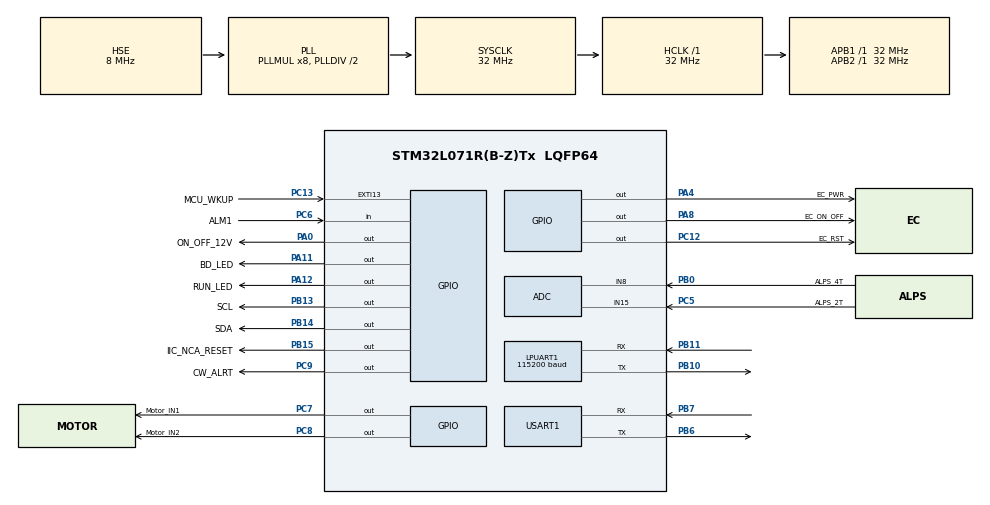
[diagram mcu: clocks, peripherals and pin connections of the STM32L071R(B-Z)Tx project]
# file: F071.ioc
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ADC.ContinuousConvMode=ENABLE
Dma.ADC.1.Direction=DMA_PERIPH_TO_MEMORY
Dma.ADC.1.Instance=DMA1_Channel1
Dma.ADC.1.MemDataAlignment=DMA_MDATAALIGN_HALFWORD
Dma.ADC.1.MemInc=DMA_MINC_ENABLE
Dma.ADC.1.Mode=DMA_NORMAL
Dma.ADC.1.PeriphDataAlignment=DMA_PDATAALIGN_HALFWORD
Dma.ADC.1.PeriphInc=DMA_PINC_DISABLE
Dma.ADC.1.Priority=DMA_PRIORITY_LOW
Dma.Request0=USART1_RX
Dma.Request1=ADC
Dma.USART1_RX.0.Direction=DMA_PERIPH_TO_MEMORY
Dma.USART1_RX.0.Instance=DMA1_Channel3
Dma.USART1_RX.0.MemDataAlignment=DMA_MDATAALIGN_BYTE
Dma.USART1_RX.0.MemInc=DMA_MINC_ENABLE
Dma.USART1_RX.0.Mode=DMA_NORMAL
Dma.USART1_RX.0.PeriphDataAlignment=DMA_PDATAALIGN_BYTE
Dma.USART1_RX.0.PeriphInc=DMA_PINC_DISABLE
Dma.USART1_RX.0.Priority=DMA_PRIORITY_LOW
LPUART1.BaudRate=115200
LPUART1.OverrunDisableParam=UART_ADVFEATURE_OVERRUN_ENABLE
LPUART1.WordLength=UART_WORDLENGTH_8B
Mcu.Family=STM32L0
Mcu.Name=STM32L071R(B-Z)Tx
Mcu.Package=LQFP64
NVIC.ADC1_COMP_IRQn=true\:0\:0\:false\:false\:true\:true\:true
NVIC.DMA1_Channel1_IRQn=true\:0\:0\:false\:false\:true\:false\:true
NVIC.DMA1_Channel2_3_IRQn=true\:0\:0\:false\:false\:true\:false\:true
NVIC.EXTI4_15_IRQn=true\:0\:0\:false\:false\:true\:true\:true
NVIC.LPUART1_IRQn=true\:0\:0\:false\:false\:true\:true\:true
NVIC.RTC_IRQn=true\:0\:0\:false\:false\:true\:true\:true
NVIC.TIM7_IRQn=true\:0\:0\:false\:false\:true\:true\:true
NVIC.USART1_IRQn=true\:0\:0\:true\:false\:true\:true\:true
PA0.GPIO_Label=ON_OFF_12V
PA0.GPIO_Speed=GPIO_SPEED_FREQ_HIGH
PA0.Signal=GPIO_Output
PA11.GPIO_Label=BD_LED
PA11.GPIO_Speed=GPIO_SPEED_FREQ_HIGH
PA11.PinState=GPIO_PIN_SET
PA11.Signal=GPIO_Output
PA12.GPIO_Label=RUN_LED
PA12.GPIO_Speed=GPIO_SPEED_FREQ_HIGH
PA12.Signal=GPIO_Output
PA13.Mode=Serial_Wire
PA13.Signal=SYS_SWDIO
PA14.Mode=Serial_Wire
PA14.Signal=SYS_SWCLK
PA4.GPIO_Label=EC_PWR
PA4.GPIO_Speed=GPIO_SPEED_FREQ_HIGH
PA4.Signal=GPIO_Output
PA8.GPIO_Label=EC_ON_OFF
PA8.GPIO_Speed=GPIO_SPEED_FREQ_HIGH
PA8.Signal=GPIO_Output
PB0.GPIO_Label=ALPS_4T
PB0.Mode=IN8
PB0.Signal=ADC_IN8
PB10.Mode=Asynchronous
PB10.Signal=LPUART1_TX
PB11.Mode=Asynchronous
PB11.Signal=LPUART1_RX
PB13.GPIO_Label=SCL
PB13.GPIO_ModeDefaultOutputPP=GPIO_MODE_OUTPUT_OD
PB13.GPIO_PuPd=GPIO_NOPULL
PB13.GPIO_Speed=GPIO_SPEED_FREQ_HIGH
PB13.PinState=GPIO_PIN_SET
PB13.Signal=GPIO_Output
PB14.GPIO_Label=SDA
PB14.GPIO_ModeDefaultOutputPP=GPIO_MODE_OUTPUT_OD
PB14.GPIO_PuPd=GPIO_NOPULL
PB14.GPIO_Speed=GPIO_SPEED_FREQ_HIGH
PB14.PinState=GPIO_PIN_SET
PB14.Signal=GPIO_Output
PB15.GPIO_Label=IIC_NCA_RESET
PB15.GPIO_Speed=GPIO_SPEED_FREQ_HIGH
PB15.Signal=GPIO_Output
PB6.Mode=Asynchronous
PB6.Signal=USART1_TX
PB7.Mode=Asynchronous
PB7.Signal=USART1_RX
PC12.GPIO_Label=EC_RST
PC12.GPIO_Speed=GPIO_SPEED_FREQ_HIGH
PC12.Signal=GPIO_Output
PC13.GPIO_Label=MCU_WKUP
PC13.GPIO_ModeDefaultEXTI=GPIO_MODE_IT_RISING_FALLING
PC13.Signal=GPXTI13
PC14-OSC32_IN.Mode=LSE-External-Oscillator
PC14-OSC32_IN.Signal=RCC_OSC32_IN
PC15-OSC32_OUT.Mode=LSE-External-Oscillator
PC15-OSC32_OUT.Signal=RCC_OSC32_OUT
PC5.GPIO_Label=ALPS_2T
PC5.Mode=IN15
PC5.Signal=ADC_IN15
PC6.GPIO_Label=ALM1
PC6.Signal=GPIO_Input
PC7.GPIO_Label=Motor_IN1
PC7.GPIO_Speed=GPIO_SPEED_FREQ_HIGH
PC7.Signal=GPIO_Output
PC8.GPIO_Label=Motor_IN2
PC8.GPIO_Speed=GPIO_SPEED_FREQ_HIGH
PC8.Signal=GPIO_Output
PC9.GPIO_Label=CW_ALRT
PC9.GPIO_Speed=GPIO_SPEED_FREQ_HIGH
PC9.Signal=GPIO_Output
PH0-OSC_IN.Mode=HSE-External-Oscillator
PH0-OSC_IN.Signal=RCC_OSC_IN
PH1-OSC_OUT.Mode=HSE-External-Oscillator
PH1-OSC_OUT.Signal=RCC_OSC_OUT
ProjectManager.HeapSize=0x200
ProjectManager.StackSize=0x400
ProjectManager.TargetToolchain=MDK-ARM V5.32
RCC.AHBFreq_Value=32000000
RCC.APB1Freq_Value=32000000
RCC.APB1TimFreq_Value=32000000
RCC.APB2Freq_Value=32000000
RCC.APB2TimFreq_Value=32000000
RCC.HCLKFreq_Value=32000000
RCC.HSE_VALUE=8000000
RCC.HSI16_VALUE=16000000
RCC.HSI_VALUE=16000000
RCC.MSI_VALUE=2097000
RCC.PLLMUL=RCC_PLLMUL_8
RCC.PLLSourceVirtual=RCC_PLLSOURCE_HSE
RCC.RTCClockSelection=RCC_RTCCLKSOURCE_LSE
RCC.RTCClockSelectionVirtual=RCC_RTCCLKSOURCE_LSE
RCC.SYSCLKFreq_VALUE=32000000
RCC.SYSCLKSource=RCC_SYSCLKSOURCE_PLLCLK
RCC.VCOOutputFreq_Value=64000000
RTC.Format=RTC_FORMAT_BIN
RTC.Hours=14
RTC.Minutes=15
RTC.Month=RTC_MONTH_SEPTEMBER
RTC.WakeUpClock-WakeUp=RTC_WAKEUPCLOCK_CK_SPRE_16BITS
RTC.WakeUpCounter-WakeUp=10
RTC.WeekDay=RTC_WEEKDAY_SUNDAY
RTC.Year=24
TIM7.Period=1000
TIM7.Prescaler=7200
USART1.VirtualMode-Asynchronous=VM_ASYNC
VP_RTC_VS_RTC_Activate.Mode=RTC_Enabled
VP_RTC_VS_RTC_Calendar.Mode=RTC_Calendar
VP_RTC_VS_RTC_WakeUp_intern.Mode=WakeUp
VP_TIM7_VS_ClockSourceINT.Mode=Enable_Timer
board=custom

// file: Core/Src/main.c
/* USER CODE BEGIN Header */
/**
  ******************************************************************************
  * @file           : main.c
  * @brief          : Main program body
  ******************************************************************************
  * @attention
  *
  * Copyright (c) 2024 STMicroelectronics.
  * All rights reserved.
  *
  * This software is licensed under terms that can be found in the LICENSE file
  * in the root directory of this software component.
  * If no LICENSE file comes with this software, it is provided AS-IS.
  *
  ******************************************************************************
  */
/* USER CODE END Header */
#include "main.h"
#include "adc.h"
#include "dma.h"
#include "usart.h"
#include "rtc.h"
#include "tim.h"
#include "gpio.h"

/* USER CODE BEGIN Includes */
#include <stdio.h>
#include "include.h"

/* USER CODE END Includes */

void SystemClock_Config(void);
/* USER CODE BEGIN PFP */

void GetSystemClocks(void) {
  // 获取系统时钟配置
  uint32_t SYSCLK_Frequency = HAL_RCC_GetSysClockFreq();/*!< returns SYSCLK clock frequency expressed in Hz */
  uint32_t HCLK_Frequency= HAL_RCC_GetHCLKFreq();    /*!< returns HCLK clock frequency expressed in Hz */
  uint32_t PCLK1_Frequency= HAL_RCC_GetPCLK1Freq();   /*!< returns PCLK1 clock frequency expressed in Hz */
  uint32_t PCLK2_Frequency= HAL_RCC_GetSysClockFreq();
 // 这里设置一个断点，用于调试时查看频率
 //    __NOP(); // 这是一个空操作，仅用于设置断点
}
/* USER CODE END PFP */

int main(void)
{

  /* MCU Configuration--------------------------------------------------------*/

  /* Reset of all peripherals, Initializes the Flash interface and the Systick. */
  HAL_Init();

  /* USER CODE BEGIN Init */
  __enable_irq();
  /* USER CODE END Init */

  /* Configure the system clock */
  SystemClock_Config();

  /* USER CODE BEGIN SysInit */
	//注意  MX_DMA_Init  要放在 串口初始化前面
  /* USER CODE END SysInit */

  /* Initialize all configured peripherals */
  MX_GPIO_Init();
	  MX_DMA_Init();
  MX_USART1_UART_Init();
	 MX_LPUART1_UART_Init();
  MX_ADC_Init();
  MX_RTC_Init();
  MX_TIM7_Init();
  /* USER CODE BEGIN 2 */
	BSP_Board_Init();

  /* USER CODE END 2 */

  /* Infinite loop */
  while (1)
  {

    /* USER CODE BEGIN 3 */
		if(HAL_GPIO_ReadPin(MCU_WKUP_GPIO_Port,MCU_WKUP_Pin) == SET){
			User_Data.Wake_Up_Flag++;

		}
		if(User_Data.Wake_Up_Flag >= 30000){
			User_Data.Wake_Up_Flag = 0;
			enter_stop_rtc_mode(User_Data.Wake_time);
		}
		Motor_Control();
		read_SW();

//		if((LPUART1_RX_STA&0X8000)&&EC800_State == 1)  //接收完成并且ec800初始化完成
//		{
//			LPUART1Cnt = LPUART1_RX_STA & 0x7FFF;
//			U3PassiveEvent(LPUART1_Data,LPUART1Cnt);
//			memset(LPUART1_Data,0,sizeof(LPUART1_Data));
//			LPUART1_RX_STA = 0;
//			LPUART1Cnt = 0;//清除接收结束标志位
//		}
//		else if(User_Data.Heart_Cnt >= 30000 &&EC800_State == 1 ){
//			memset(main_buff1,0,sizeof(main_buff1));
//			main_len=sprintf(main_buff1,"BB,%s,%d,%d,%d",User_Data.imei,User_Data.adc,User_Data.Report_motor_Type,User_Data.csq);
//			MQTT_PublishQs0(main_buff1,main_len);
//		}
		ConfigModuleNoBlock();//配置模块

		//串口接收数据出现空闲
		if(LPUART1_RX_STA&0X8000)
		{
			LPUART1Cnt = LPUART1_RX_STA & 0x7FFF;
			log_info("4GSever_数据 %s 长度%d\r\n",LPUART1_Data,LPUART1Cnt);

			//可以在这里判断模组返回的数据有没有问题
			//如果有问题就重新配置模组
			//下面是假设模组返回了 disconnect 就需要重新配置模组
			if(strstr((char*)LPUART1_Data,"+QMTSTAT: 0,1")){
				ConfigModuleNoBlockFlage=0;
				ConfigModuleNoBlockCaseValue=0;
				EC800_State = 0;
			}

			if(ConfigConnectDispose != NULL){
				ConfigConnectDispose((char*)LPUART1_Data,LPUART1Cnt);
			}

			if(strstr((char *)LPUART1_Data,"CGSN")){
				strncpy(User_Data.imei,(char *)LPUART1_Data+10, 15);
			}
			if(strstr((char *)LPUART1_Data,"CSQ")){
				char *csqPos = strstr((char *)LPUART1_Data, "+CSQ:");
					if(csqPos != NULL) {
							sscanf(csqPos, "+CSQ: %d", &User_Data.csq);
					}
			}
			if(strstr((char *)LPUART1_Data,"QCCID")){
				strncpy(User_Data.ICCID,(char *)LPUART1_Data+10, 20);
			}
			if(strstr((char *)LPUART1_Data,"QLTS")){
				strncpy(User_Data.SIM_Time,(char *)LPUART1_Data+10, 20);
			}
			if(strstr((char *)LPUART1_Data,"+QMTRECV: 0,0")){
				parseReceivedData((char *)LPUART1_Data);
			}

			memset(LPUART1_Data,0,sizeof(LPUART1_Data));
			LPUART1_RX_STA = 0;
			LPUART1Cnt = 0;//清除接收结束标志位
		}
		else if(User_Data.Heart_Cnt >= User_Data.Heart_Time*1000 &&ConfigModuleNoBlockFlage == 1 ){
			RTC_Time();
			memset(main_buff1,0,sizeof(main_buff1));
			main_len=sprintf(main_buff1,"B5,%s,%d,%d,%d,%d,%d,%d,%.2f,%.2f,%d,%d/%d/%d-%d:%d:%d,%d",User_Data.imei,User_Data.adc,User_Data.RW_Switch_Type1,User_Data.RW_Switch_Type2,
			User_Data.RW_Double_Type,User_Data.RW_Butterfly_Type,User_Data.Report_motor_Type,User_Data.RW_Pressure1,User_Data.RW_Pressure2,User_Data.Wake_time,
			GetData.Year, GetData.Month, GetData.Date,GetTime.Hours, GetTime.Minutes, GetTime.Seconds,User_Data.csq);
			MQTT_PublishQs0(main_buff1,main_len);
		}

		/*提取缓存的数据*/
		BufferManageRead(&buff_manage_struct_usart1,Usart1BufferMemoryCopy,&buff_manage_struct_usart1.ReadLen);
		User_Usart_QueueTask();
  }
  /* USER CODE END 3 */
}

void SystemClock_Config(void)
{
  RCC_OscInitTypeDef RCC_OscInitStruct = {0};
  RCC_ClkInitTypeDef RCC_ClkInitStruct = {0};
  RCC_PeriphCLKInitTypeDef PeriphClkInit = {0};

  /** Configure the main internal regulator output voltage
  */
  __HAL_PWR_VOLTAGESCALING_CONFIG(PWR_REGULATOR_VOLTAGE_SCALE1);
  /** Configure LSE Drive Capability
  */
  HAL_PWR_EnableBkUpAccess();
  __HAL_RCC_LSEDRIVE_CONFIG(RCC_LSEDRIVE_LOW);
  /** Initializes the RCC Oscillators according to the specified parameters
  * in the RCC_OscInitTypeDef structure.
  */
  RCC_OscInitStruct.OscillatorType = RCC_OSCILLATORTYPE_HSE|RCC_OSCILLATORTYPE_LSE;
  RCC_OscInitStruct.HSEState = RCC_HSE_ON;
  RCC_OscInitStruct.LSEState = RCC_LSE_ON;
  RCC_OscInitStruct.PLL.PLLState = RCC_PLL_ON;
  RCC_OscInitStruct.PLL.PLLSource = RCC_PLLSOURCE_HSE;
  RCC_OscInitStruct.PLL.PLLMUL = RCC_PLLMUL_8;
  RCC_OscInitStruct.PLL.PLLDIV = RCC_PLLDIV_2;
  if (HAL_RCC_OscConfig(&RCC_OscInitStruct) != HAL_OK)
  {
    Error_Handler();
  }
  /** Initializes the CPU, AHB and APB buses clocks
  */
  RCC_ClkInitStruct.ClockType = RCC_CLOCKTYPE_HCLK|RCC_CLOCKTYPE_SYSCLK
                              |RCC_CLOCKTYPE_PCLK1|RCC_CLOCKTYPE_PCLK2;
  RCC_ClkInitStruct.SYSCLKSource = RCC_SYSCLKSOURCE_PLLCLK;
  RCC_ClkInitStruct.AHBCLKDivider = RCC_SYSCLK_DIV1;
  RCC_ClkInitStruct.APB1CLKDivider = RCC_HCLK_DIV1;
  RCC_ClkInitStruct.APB2CLKDivider = RCC_HCLK_DIV1;

  if (HAL_RCC_ClockConfig(&RCC_ClkInitStruct, FLASH_LATENCY_1) != HAL_OK)
  {
    Error_Handler();
  }
  PeriphClkInit.PeriphClockSelection = RCC_PERIPHCLK_USART1|RCC_PERIPHCLK_LPUART1
                              |RCC_PERIPHCLK_RTC;
  PeriphClkInit.Usart1ClockSelection = RCC_USART1CLKSOURCE_PCLK2;
  PeriphClkInit.Lpuart1ClockSelection = RCC_LPUART1CLKSOURCE_PCLK1;
  PeriphClkInit.RTCClockSelection = RCC_RTCCLKSOURCE_LSE;
  if (HAL_RCCEx_PeriphCLKConfig(&PeriphClkInit) != HAL_OK)
  {
    Error_Handler();
  }
}

void Error_Handler(void)
{
  __disable_irq();
  while (1)
  {
  }
}
